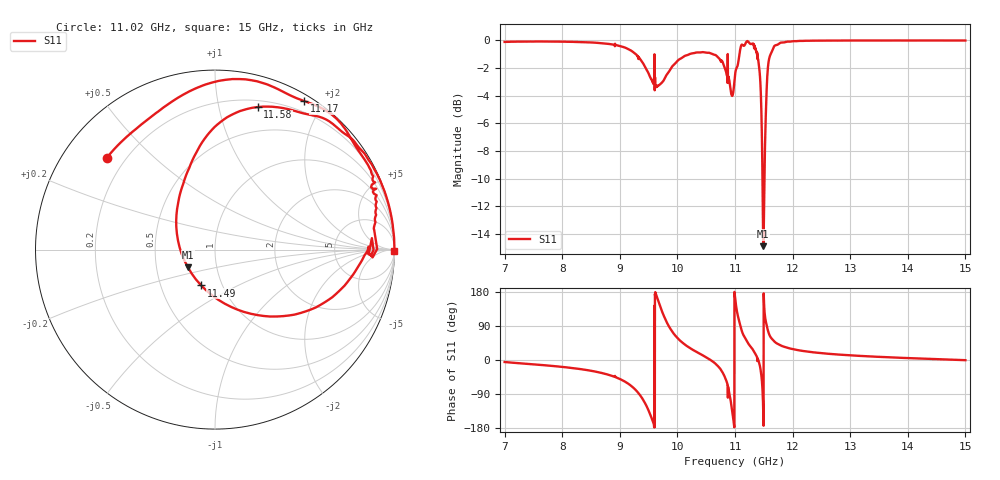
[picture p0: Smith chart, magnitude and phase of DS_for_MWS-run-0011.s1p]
! TOUCHSTONE file generated by CST DESIGN STUDIO
! Date and time: Mon Feb 10 16:47:06 2025
! Project name: C:\Work\MatlabApps\UnitCellType2OptimizationMatlab\CST\unitcell.cst
! Tree item: Tasks\Sweep1\SPara1\S-Parameters
! Header version: 2024
! Port assignment regex: !\s*Touchstone port\s*([0-9]+)\s*=\s*(CST MWS port|CST DES external port|CST DES block port)\s*(.+)\s* \(\"(.*)\"\)(\s*mode\s*([0-9]+))?.*
! Touchstone port assignment:
! Touchstone port 1 = CST DES external port 1 ("")
# GHz S MA R 50
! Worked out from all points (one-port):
!   4001 points, 7 GHz to 15 GHz, reference 50 ohm
!   lowest |S11| = -14.9 dB at 11.49 GHz (marker M1), VSWR 1.44, Z = 36.3 - j7.43 ohm
!   |S11| at or under -10 dB: 11.47719 GHz to 11.51058 GHz (33.39 MHz wide, 0.291 % of centre)
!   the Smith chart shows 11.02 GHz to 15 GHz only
!   S11 on the Smith chart (normalised r, x): 11.02 GHz: 0.13, +0.36; 11.17 GHz: 0.07, +1.76; 11.49 GHz: 0.80, -0.33; 11.58 GHz: 0.26, +1.31; 15 GHz: open
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7  0.988 -5.3
8  0.9897 -18.2
9  0.9555 -50.1
9.384  0.8402 -99.9
9.5  0.7596 -133.5
9.6  0.6983 -173.6
9.792  0.7385 107.0
10  0.8428 58.3
10.33  0.9046 21.5
10.7  0.8715 -15.6
10.816  0.8028 -42.3
10.9  0.7202 -85.1
10.948  0.6309 -130.2
11  0.75 166.4
11.022  0.7897 139.6
11.086  0.9162 94.4
11.172  0.9651 59.1
11.384  0.8936 7.1
11.448  0.6473 -29.9
11.486  0.214 -111.1
11.492  0.1805 -146.7
11.526  0.4609 109.4
11.58  0.8288 73.3
11.712  0.9616 45.2
12  0.9941 28.8
13  0.9993 12.3
14  0.9999 5.1
15  0.9996 -0.5
